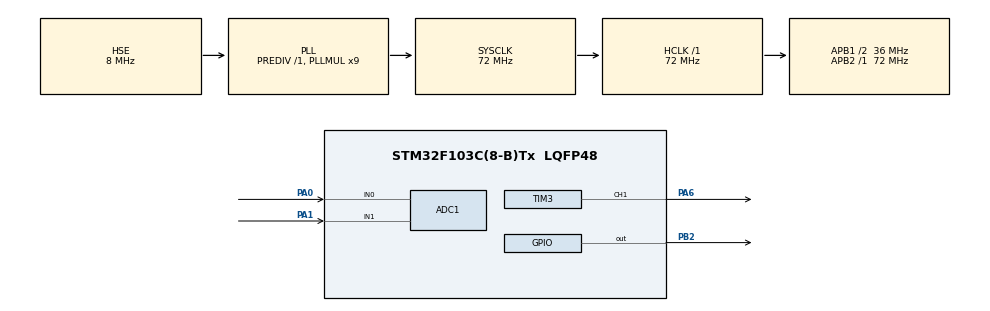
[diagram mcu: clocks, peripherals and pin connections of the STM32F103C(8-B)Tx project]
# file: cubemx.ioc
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ADC1.Channel-0\#ChannelRegularConversion=ADC_CHANNEL_0
ADC1.Channel-1\#ChannelRegularConversion=ADC_CHANNEL_1
ADC1.Channel-2\#ChannelRegularConversion=ADC_CHANNEL_TEMPSENSOR
ADC1.ContinuousConvMode=ENABLE
ADC1.DataAlign=ADC_DATAALIGN_RIGHT
ADC1.EnableRegularConversion=ENABLE
ADC1.NbrOfConversion=3
ADC1.NbrOfConversionFlag=1
ADC1.Rank-0\#ChannelRegularConversion=1
ADC1.Rank-1\#ChannelRegularConversion=2
ADC1.Rank-2\#ChannelRegularConversion=3
ADC1.SamplingTime-0\#ChannelRegularConversion=ADC_SAMPLETIME_239CYCLES_5
ADC1.SamplingTime-1\#ChannelRegularConversion=ADC_SAMPLETIME_239CYCLES_5
ADC1.SamplingTime-2\#ChannelRegularConversion=ADC_SAMPLETIME_239CYCLES_5
ADC1.master=1
Dma.ADC1.0.Direction=DMA_PERIPH_TO_MEMORY
Dma.ADC1.0.Instance=DMA1_Channel1
Dma.ADC1.0.MemDataAlignment=DMA_MDATAALIGN_HALFWORD
Dma.ADC1.0.MemInc=DMA_MINC_ENABLE
Dma.ADC1.0.Mode=DMA_CIRCULAR
Dma.ADC1.0.PeriphDataAlignment=DMA_PDATAALIGN_HALFWORD
Dma.ADC1.0.PeriphInc=DMA_PINC_DISABLE
Dma.ADC1.0.Priority=DMA_PRIORITY_MEDIUM
Dma.Request0=ADC1
Mcu.Family=STM32F1
Mcu.Name=STM32F103C(8-B)Tx
Mcu.Package=LQFP48
NVIC.DMA1_Channel1_IRQn=true\:0\:0\:false\:false\:true\:false\:true\:true
NVIC.PriorityGroup=NVIC_PRIORITYGROUP_4
PA0-WKUP.Signal=ADCx_IN0
PA1.Signal=ADCx_IN1
PA13.Mode=Serial_Wire
PA13.Signal=SYS_JTMS-SWDIO
PA14.Mode=Serial_Wire
PA14.Signal=SYS_JTCK-SWCLK
PA6.Signal=S_TIM3_CH1
PB2.Signal=GPIO_Output
PD0-OSC_IN.Mode=HSE-External-Oscillator
PD0-OSC_IN.Signal=RCC_OSC_IN
PD1-OSC_OUT.Mode=HSE-External-Oscillator
PD1-OSC_OUT.Signal=RCC_OSC_OUT
ProjectManager.HeapSize=0x200
ProjectManager.StackSize=0x400
ProjectManager.TargetToolchain=CMake
RCC.ADCPresc=RCC_ADCPCLK2_DIV6
RCC.AHBFreq_Value=72000000
RCC.APB1CLKDivider=RCC_HCLK_DIV2
RCC.APB1Freq_Value=36000000
RCC.APB1TimFreq_Value=72000000
RCC.APB2Freq_Value=72000000
RCC.APB2TimFreq_Value=72000000
RCC.HCLKFreq_Value=72000000
RCC.PLLMUL=RCC_PLL_MUL9
RCC.PLLSourceVirtual=RCC_PLLSOURCE_HSE
RCC.SYSCLKFreq_VALUE=72000000
RCC.SYSCLKSource=RCC_SYSCLKSOURCE_PLLCLK
RCC.USBFreq_Value=72000000
SH.ADCx_IN0.0=ADC1_IN0,IN0
SH.ADCx_IN1.0=ADC1_IN1,IN1
SH.S_TIM3_CH1.0=TIM3_CH1,PWM Generation1 CH1
TIM3.AutoReloadPreload=TIM_AUTORELOAD_PRELOAD_ENABLE
TIM3.Channel-PWM\ Generation1\ CH1=TIM_CHANNEL_1
TIM3.Period=2879
TIM3.Prescaler=0
VP_ADC1_TempSens_Input.Mode=IN-TempSens
VP_TIM3_VS_ClockSourceINT.Mode=Internal
board=custom

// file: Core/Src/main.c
/* USER CODE BEGIN Header */
/**
  ******************************************************************************
  * @file           : main.c
  * @brief          : Main program body
  ******************************************************************************
  * @attention
  *
  * Copyright (c) 2025 STMicroelectronics.
  * All rights reserved.
  *
  * This software is licensed under terms that can be found in the LICENSE file
  * in the root directory of this software component.
  * If no LICENSE file comes with this software, it is provided AS-IS.
  *
  ******************************************************************************
  */
/* USER CODE END Header */
#include "main.h"

/* USER CODE BEGIN Includes */
#include "adc_handler.h"
#include "temperature_sensor.h"
#include "fan_control.h"
/* USER CODE END Includes */

ADC_HandleTypeDef hadc1;
DMA_HandleTypeDef hdma_adc1;

TIM_HandleTypeDef htim3;

/* USER CODE BEGIN PV */
ADC_Handler_t adc_handler;
/* USER CODE END PV */

void SystemClock_Config(void);
static void MX_GPIO_Init(void);
static void MX_DMA_Init(void);
static void MX_ADC1_Init(void);
static void MX_TIM3_Init(void);

int main(void)
{

  /* MCU Configuration--------------------------------------------------------*/

  /* Reset of all peripherals, Initializes the Flash interface and the Systick. */
  HAL_Init();

  /* Configure the system clock */
  SystemClock_Config();

  /* Initialize all configured peripherals */
  MX_GPIO_Init();
  MX_DMA_Init();
  MX_ADC1_Init();
  MX_TIM3_Init();
  /* USER CODE BEGIN 2 */

  ADCHandler_Init(&hadc1, &adc_handler);
  ADCHandler_Start(&adc_handler);
  FanControl_Init(&htim3);

  /* USER CODE END 2 */

  /* Infinite loop */
  /* USER CODE BEGIN WHILE */
  while (1)
  {
    uint32_t adc_ntc1 = ADCHandler_GetNTC1(&adc_handler);
    uint32_t adc_ntc2 = ADCHandler_GetNTC2(&adc_handler);
    uint32_t adc_core = ADCHandler_GetCoreTemp(&adc_handler);

    float ntc1_temperature = TemperatureSensor_CalculateNTC(adc_ntc1);
    float ntc2_temperature = TemperatureSensor_CalculateNTC(adc_ntc2);
    float core_temperature = TemperatureSensor_CalculateCore(adc_core);

    float max_temperature = TemperatureSensor_GetMax(ntc1_temperature, ntc2_temperature);

    FanControl_Update(max_temperature);

    /* USER CODE END WHILE */

  }
}

void SystemClock_Config(void)
{
  RCC_OscInitTypeDef RCC_OscInitStruct = {0};
  RCC_ClkInitTypeDef RCC_ClkInitStruct = {0};
  RCC_PeriphCLKInitTypeDef PeriphClkInit = {0};

  /** Initializes the RCC Oscillators according to the specified parameters
  * in the RCC_OscInitTypeDef structure.
  */
  RCC_OscInitStruct.OscillatorType = RCC_OSCILLATORTYPE_HSE;
  RCC_OscInitStruct.HSEState = RCC_HSE_ON;
  RCC_OscInitStruct.HSEPredivValue = RCC_HSE_PREDIV_DIV1;
  RCC_OscInitStruct.HSIState = RCC_HSI_ON;
  RCC_OscInitStruct.PLL.PLLState = RCC_PLL_ON;
  RCC_OscInitStruct.PLL.PLLSource = RCC_PLLSOURCE_HSE;
  RCC_OscInitStruct.PLL.PLLMUL = RCC_PLL_MUL9;
  if (HAL_RCC_OscConfig(&RCC_OscInitStruct) != HAL_OK)
  {
    Error_Handler();
  }

  /** Initializes the CPU, AHB and APB buses clocks
  */
  RCC_ClkInitStruct.ClockType = RCC_CLOCKTYPE_HCLK|RCC_CLOCKTYPE_SYSCLK
                              |RCC_CLOCKTYPE_PCLK1|RCC_CLOCKTYPE_PCLK2;
  RCC_ClkInitStruct.SYSCLKSource = RCC_SYSCLKSOURCE_PLLCLK;
  RCC_ClkInitStruct.AHBCLKDivider = RCC_SYSCLK_DIV1;
  RCC_ClkInitStruct.APB1CLKDivider = RCC_HCLK_DIV2;
  RCC_ClkInitStruct.APB2CLKDivider = RCC_HCLK_DIV1;

  if (HAL_RCC_ClockConfig(&RCC_ClkInitStruct, FLASH_LATENCY_2) != HAL_OK)
  {
    Error_Handler();
  }
  PeriphClkInit.PeriphClockSelection = RCC_PERIPHCLK_ADC;
  PeriphClkInit.AdcClockSelection = RCC_ADCPCLK2_DIV6;
  if (HAL_RCCEx_PeriphCLKConfig(&PeriphClkInit) != HAL_OK)
  {
    Error_Handler();
  }
}

static void MX_ADC1_Init(void)
{

  ADC_ChannelConfTypeDef sConfig = {0};

  /** Common config
  */
  hadc1.Instance = ADC1;
  hadc1.Init.ScanConvMode = ADC_SCAN_ENABLE;
  hadc1.Init.ContinuousConvMode = ENABLE;
  hadc1.Init.DiscontinuousConvMode = DISABLE;
  hadc1.Init.ExternalTrigConv = ADC_SOFTWARE_START;
  hadc1.Init.DataAlign = ADC_DATAALIGN_RIGHT;
  hadc1.Init.NbrOfConversion = 3;
  if (HAL_ADC_Init(&hadc1) != HAL_OK)
  {
    Error_Handler();
  }

  /** Configure Regular Channel
  */
  sConfig.Channel = ADC_CHANNEL_0;
  sConfig.Rank = ADC_REGULAR_RANK_1;
  sConfig.SamplingTime = ADC_SAMPLETIME_239CYCLES_5;
  if (HAL_ADC_ConfigChannel(&hadc1, &sConfig) != HAL_OK)
  {
    Error_Handler();
  }

  /** Configure Regular Channel
  */
  sConfig.Channel = ADC_CHANNEL_1;
  sConfig.Rank = ADC_REGULAR_RANK_2;
  if (HAL_ADC_ConfigChannel(&hadc1, &sConfig) != HAL_OK)
  {
    Error_Handler();
  }

  /** Configure Regular Channel
  */
  sConfig.Channel = ADC_CHANNEL_TEMPSENSOR;
  sConfig.Rank = ADC_REGULAR_RANK_3;
  if (HAL_ADC_ConfigChannel(&hadc1, &sConfig) != HAL_OK)
  {
    Error_Handler();
  }

}

static void MX_TIM3_Init(void)
{

  TIM_ClockConfigTypeDef sClockSourceConfig = {0};
  TIM_MasterConfigTypeDef sMasterConfig = {0};
  TIM_OC_InitTypeDef sConfigOC = {0};

  htim3.Instance = TIM3;
  htim3.Init.Prescaler = 0;
  htim3.Init.CounterMode = TIM_COUNTERMODE_UP;
  htim3.Init.Period = 2879;
  htim3.Init.ClockDivision = TIM_CLOCKDIVISION_DIV1;
  htim3.Init.AutoReloadPreload = TIM_AUTORELOAD_PRELOAD_ENABLE;
  if (HAL_TIM_Base_Init(&htim3) != HAL_OK)
  {
    Error_Handler();
  }
  sClockSourceConfig.ClockSource = TIM_CLOCKSOURCE_INTERNAL;
  if (HAL_TIM_ConfigClockSource(&htim3, &sClockSourceConfig) != HAL_OK)
  {
    Error_Handler();
  }
  if (HAL_TIM_PWM_Init(&htim3) != HAL_OK)
  {
    Error_Handler();
  }
  sMasterConfig.MasterOutputTrigger = TIM_TRGO_RESET;
  sMasterConfig.MasterSlaveMode = TIM_MASTERSLAVEMODE_DISABLE;
  if (HAL_TIMEx_MasterConfigSynchronization(&htim3, &sMasterConfig) != HAL_OK)
  {
    Error_Handler();
  }
  sConfigOC.OCMode = TIM_OCMODE_PWM1;
  sConfigOC.Pulse = 0;
  sConfigOC.OCPolarity = TIM_OCPOLARITY_HIGH;
  sConfigOC.OCFastMode = TIM_OCFAST_DISABLE;
  if (HAL_TIM_PWM_ConfigChannel(&htim3, &sConfigOC, TIM_CHANNEL_1) != HAL_OK)
  {
    Error_Handler();
  }
  HAL_TIM_MspPostInit(&htim3);

}

static void MX_DMA_Init(void)
{

  /* DMA controller clock enable */
  __HAL_RCC_DMA1_CLK_ENABLE();

  /* DMA interrupt init */
  /* DMA1_Channel1_IRQn interrupt configuration */
  HAL_NVIC_SetPriority(DMA1_Channel1_IRQn, 0, 0);
  HAL_NVIC_EnableIRQ(DMA1_Channel1_IRQn);

}

static void MX_GPIO_Init(void)
{
  GPIO_InitTypeDef GPIO_InitStruct = {0};

  /* GPIO Ports Clock Enable */
  __HAL_RCC_GPIOD_CLK_ENABLE();
  __HAL_RCC_GPIOA_CLK_ENABLE();
  __HAL_RCC_GPIOB_CLK_ENABLE();

  /*Configure GPIO pin Output Level */
  HAL_GPIO_WritePin(GPIOB, GPIO_PIN_2, GPIO_PIN_RESET);

  /*Configure GPIO pin : PB2 */
  GPIO_InitStruct.Pin = GPIO_PIN_2;
  GPIO_InitStruct.Mode = GPIO_MODE_OUTPUT_PP;
  GPIO_InitStruct.Pull = GPIO_NOPULL;
  GPIO_InitStruct.Speed = GPIO_SPEED_FREQ_LOW;
  HAL_GPIO_Init(GPIOB, &GPIO_InitStruct);

}

void Error_Handler(void)
{
  __disable_irq();
  while (1)
  {
  }
}
